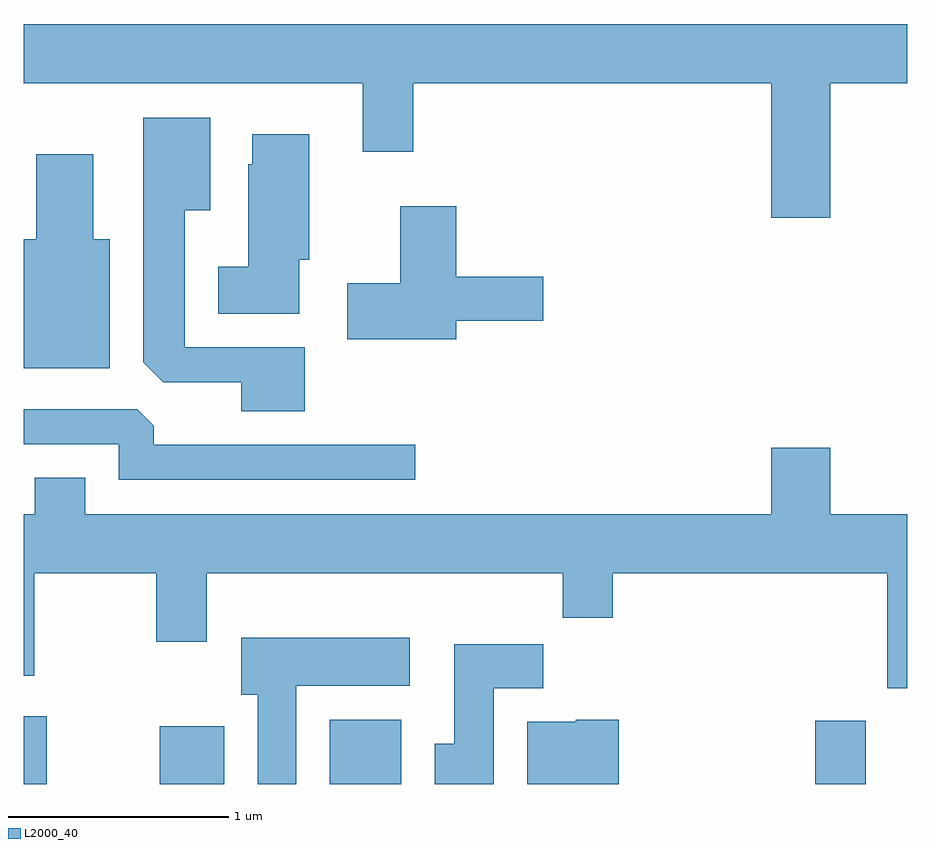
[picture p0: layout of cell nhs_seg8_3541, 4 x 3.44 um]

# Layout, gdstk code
import gdstk
lib = gdstk.Library(unit=1e-6, precision=1e-09)
def R(c, l, rs):  # rectangles x0, y0, x1, y1
    for r in rs: c.add(gdstk.rectangle(r[:2], r[2:], *l))
def P(c, l, *ps):  # polygons
    for p in ps: c.add(gdstk.Polygon(p, *l))
L2000_40 = (2000, 40)

nhs_seg8_3541 = lib.new_cell('nhs_seg8_3541')
R(nhs_seg8_3541, L2000_40, [(291.611,1844.342,291.714,1844.649), (292.226,1844.342,292.519,1844.604), (292.996,1844.342,293.319,1844.634), (295.196,1844.342,295.424,1844.629)])
P(nhs_seg8_3541, L2000_40, [(295.264,1847.516),(295.611,1847.516),(295.611,1847.784),(291.611,1847.784),(291.611,1847.516),(293.146,1847.516),(293.146,1847.206),(293.374,1847.206),(293.374,1847.516),(294.996,1847.516),(294.996,1846.906),(295.264,1846.906)],
  [(292.884,1846.319),(292.339,1846.319),(292.339,1846.941),(292.454,1846.941),(292.454,1847.359),(292.151,1847.359),(292.151,1846.252),(292.242,1846.161),(292.596,1846.161),(292.596,1846.031),(292.884,1846.031)],
  [(292.859,1846.716),(292.904,1846.716),(292.904,1847.284),(292.646,1847.284),(292.646,1847.149),(292.626,1847.149),(292.626,1846.684),(292.491,1846.684),(292.491,1846.471),(292.859,1846.471)],
  [(291.999,1846.809),(291.924,1846.809),(291.924,1847.194),(291.666,1847.194),(291.666,1846.809),(291.611,1846.809),(291.611,1846.226),(291.999,1846.226)],
  [(293.569,1846.441),(293.964,1846.441),(293.964,1846.639),(293.569,1846.639),(293.569,1846.959),(293.316,1846.959),(293.316,1846.609),(293.076,1846.609),(293.076,1846.356),(293.569,1846.356)],
  [(293.383,1845.879),(292.199,1845.879),(292.199,1845.964),(292.124,1846.039),(291.611,1846.039),(291.611,1845.881),(292.041,1845.881),(292.041,1845.721),(293.383,1845.721)],
  [(295.611,1845.564),(295.264,1845.564),(295.264,1845.864),(294.996,1845.864),(294.996,1845.564),(291.889,1845.564),(291.889,1845.729),(291.661,1845.729),(291.661,1845.564),(291.611,1845.564),(291.611,1844.833),(291.659,1844.833),(291.659,1845.296),(292.211,1845.296),(292.211,1844.986),(292.439,1844.986),(292.439,1845.296),(294.051,1845.296),(294.051,1845.096),(294.279,1845.096),(294.279,1845.296),(295.521,1845.296),(295.521,1844.776),(295.611,1844.776)],
  [(292.844,1844.786),(293.359,1844.786),(293.359,1845.004),(292.596,1845.004),(292.596,1844.746),(292.671,1844.746),(292.671,1844.342),(292.844,1844.342)],
  [(293.739,1844.776),(293.964,1844.776),(293.964,1844.974),(293.561,1844.974),(293.561,1844.524),(293.471,1844.524),(293.471,1844.342),(293.739,1844.342)],
  [(294.304,1844.634),(294.11,1844.634),(294.11,1844.624),(293.891,1844.624),(293.891,1844.342),(294.304,1844.342)])

lib.write_gds('nhs_seg8_3541.gds')
